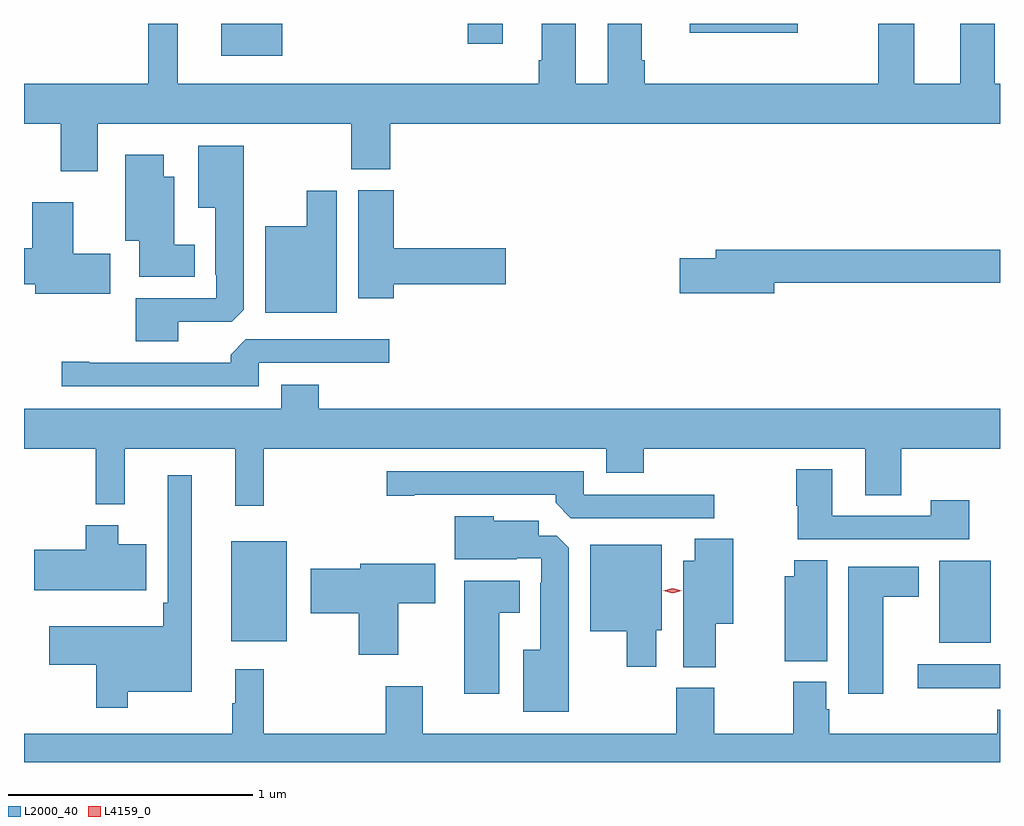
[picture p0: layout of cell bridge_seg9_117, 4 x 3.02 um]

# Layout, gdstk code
import gdstk
lib = gdstk.Library(unit=1e-6, precision=1e-09)
def R(c, l, rs):  # rectangles x0, y0, x1, y1
    for r in rs: c.add(gdstk.rectangle(r[:2], r[2:], *l))
def P(c, l, *ps):  # polygons
    for p in ps: c.add(gdstk.Polygon(p, *l))
L2000_40 = (2000, 40)
L4159_0 = (4159, 0)

bridge_seg9_117 = lib.new_cell('bridge_seg9_117')
R(bridge_seg9_117, L2000_40, [(637.395,1164.803,637.733,1164.9), (637.484,1164.989,637.696,1165.324), (634.583,1164.995,634.81,1165.405), (634.541,1167.395,634.792,1167.525), (635.551,1167.444,635.695,1167.525), (636.461,1167.488,636.904,1167.525)])
P(bridge_seg9_117, L2000_40, [(634.036,1167.116),(635.074,1167.116),(635.074,1166.929),(635.234,1166.929),(635.234,1167.116),(637.733,1167.116),(637.733,1167.28),(637.711,1167.28),(637.711,1167.525),(637.571,1167.525),(637.571,1167.28),(637.381,1167.28),(637.381,1167.525),(637.234,1167.525),(637.234,1167.28),(636.278,1167.28),(636.278,1167.376),(636.265,1167.376),(636.265,1167.525),(636.125,1167.525),(636.125,1167.28),(635.995,1167.28),(635.995,1167.525),(635.855,1167.525),(635.855,1167.376),(635.843,1167.376),(635.843,1167.28),(634.363,1167.28),(634.363,1167.525),(634.242,1167.525),(634.242,1167.28),(633.733,1167.28),(633.733,1167.116),(633.884,1167.116),(633.884,1166.922),(634.036,1166.922)],
  [(634.366,1166.304),(634.584,1166.304),(634.633,1166.353),(634.633,1167.025),(634.448,1167.025),(634.448,1166.771),(634.517,1166.771),(634.517,1166.497),(634.521,1166.497),(634.521,1166.4),(634.19,1166.4),(634.19,1166.225),(634.366,1166.225)],
  [(634.432,1166.62),(634.348,1166.62),(634.348,1166.899),(634.306,1166.899),(634.306,1166.989),(634.148,1166.989),(634.148,1166.636),(634.205,1166.636),(634.205,1166.489),(634.432,1166.489)],
  [(635.249,1166.459),(635.707,1166.459),(635.707,1166.606),(635.249,1166.606),(635.249,1166.844),(635.102,1166.844),(635.102,1166.4),(635.249,1166.4)],
  [(635.014,1166.842),(634.892,1166.842),(634.892,1166.695),(634.721,1166.695),(634.721,1166.342),(635.014,1166.342)],
  [(634.087,1166.583),(633.934,1166.583),(633.934,1166.794),(633.767,1166.794),(633.767,1166.606),(633.733,1166.606),(633.733,1166.459),(633.779,1166.459),(633.779,1166.42),(634.087,1166.42)],
  [(636.808,1166.464),(637.733,1166.464),(637.733,1166.6),(636.569,1166.6),(636.569,1166.564),(636.42,1166.564),(636.42,1166.422),(636.808,1166.422)],
  [(634.695,1166.136),(635.23,1166.136),(635.23,1166.232),(634.641,1166.232),(634.58,1166.17),(634.58,1166.136),(634,1166.136),(634,1166.141),(633.888,1166.141),(633.888,1166.04),(634.695,1166.04)],
  [(634.94,1166.047),(634.787,1166.047),(634.787,1165.948),(633.733,1165.948),(633.733,1165.784),(634.027,1165.784),(634.027,1165.556),(634.145,1165.556),(634.145,1165.784),(634.598,1165.784),(634.598,1165.551),(634.715,1165.551),(634.715,1165.784),(636.119,1165.784),(636.119,1165.685),(636.272,1165.685),(636.272,1165.784),(637.181,1165.784),(637.181,1165.594),(637.329,1165.594),(637.329,1165.784),(637.733,1165.784),(637.733,1165.948),(634.94,1165.948)],
  [(637.606,1165.573),(637.45,1165.573),(637.45,1165.509),(637.045,1165.509),(637.045,1165.699),(636.898,1165.699),(636.898,1165.551),(636.905,1165.551),(636.905,1165.413),(637.606,1165.413)],
  [(636.562,1165.596),(636.027,1165.596),(636.027,1165.692),(635.22,1165.692),(635.22,1165.591),(635.332,1165.591),(635.332,1165.596),(635.912,1165.596),(635.912,1165.562),(635.973,1165.5),(636.562,1165.5)],
  [(634.159,1164.788),(634.42,1164.788),(634.42,1165.675),(634.323,1165.675),(634.323,1165.153),(634.303,1165.153),(634.303,1165.057),(633.837,1165.057),(633.837,1164.899),(634.03,1164.899),(634.03,1164.723),(634.159,1164.723)],
  [(635.965,1165.379),(635.916,1165.428),(635.842,1165.428),(635.842,1165.489),(635.658,1165.489),(635.658,1165.507),(635.498,1165.507),(635.498,1165.331),(635.753,1165.331),(635.753,1165.335),(635.853,1165.335),(635.853,1165.235),(635.849,1165.235),(635.849,1164.961),(635.78,1164.961),(635.78,1164.707),(635.965,1164.707)],
  [(634.234,1165.393),(634.12,1165.393),(634.12,1165.471),(633.986,1165.471),(633.986,1165.371),(633.774,1165.371),(633.774,1165.205),(634.234,1165.205)],
  [(636.568,1165.067),(636.64,1165.067),(636.64,1165.415),(636.482,1165.415),(636.482,1165.324),(636.434,1165.324),(636.434,1164.889),(636.568,1164.889)],
  [(636.325,1165.041),(636.346,1165.041),(636.346,1165.39),(636.053,1165.39),(636.053,1165.037),(636.203,1165.037),(636.203,1164.891),(636.325,1164.891)],
  [(637.024,1165.328),(636.89,1165.328),(636.89,1165.261),(636.851,1165.261),(636.851,1164.914),(637.024,1164.914)],
  [(635.266,1165.15),(635.419,1165.15),(635.419,1165.312),(635.111,1165.312),(635.111,1165.292),(634.908,1165.292),(634.908,1165.109),(635.104,1165.109),(635.104,1164.939),(635.266,1164.939)],
  [(637.255,1165.178),(637.399,1165.178),(637.399,1165.3),(637.112,1165.3),(637.112,1164.78),(637.255,1164.78)],
  [(635.68,1165.112),(635.764,1165.112),(635.764,1165.243),(635.537,1165.243),(635.537,1164.78),(635.68,1164.78)],
  [(637.733,1164.715),(637.721,1164.715),(637.721,1164.616),(637.034,1164.616),(637.034,1164.717),(637.021,1164.717),(637.021,1164.829),(636.886,1164.829),(636.886,1164.616),(636.561,1164.616),(636.561,1164.804),(636.406,1164.804),(636.406,1164.616),(635.368,1164.616),(635.368,1164.811),(635.216,1164.811),(635.216,1164.616),(634.715,1164.616),(634.715,1164.88),(634.598,1164.88),(634.598,1164.74),(634.587,1164.74),(634.587,1164.616),(633.733,1164.616),(633.733,1164.5),(637.733,1164.5)])
P(bridge_seg9_117, L4159_0, [(636.391,1165.192),(636.353,1165.202),(636.353,1165.202),(636.353,1165.202),(636.391,1165.212),(636.428,1165.202),(636.429,1165.202),(636.428,1165.202)])

lib.write_gds('bridge_seg9_117.gds')
